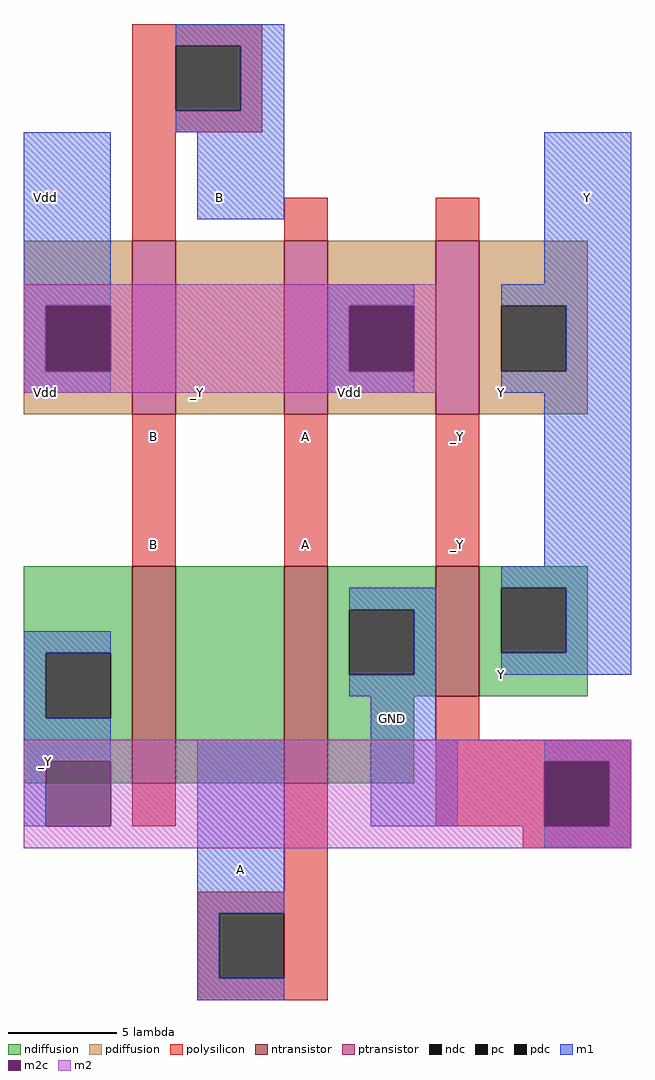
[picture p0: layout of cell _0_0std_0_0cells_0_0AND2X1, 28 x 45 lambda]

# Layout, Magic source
magic
tech sky130l
<< ndiffusion >>
rect 8 12 13 16
rect 8 9 9 12
rect 12 9 13 12
rect 8 6 13 9
rect 15 6 20 16
rect 22 14 27 16
rect 22 11 23 14
rect 26 11 27 14
rect 22 10 27 11
rect 29 15 34 16
rect 29 12 30 15
rect 33 12 34 15
rect 29 10 34 12
rect 22 6 26 10
<< ndc >>
rect 9 9 12 12
rect 23 11 26 14
rect 30 12 33 15
<< ntransistor >>
rect 13 6 15 16
rect 20 6 22 16
rect 27 10 29 16
<< pdiffusion >>
rect 8 28 13 31
rect 8 25 9 28
rect 12 25 13 28
rect 8 23 13 25
rect 15 23 20 31
rect 22 28 27 31
rect 22 25 23 28
rect 26 25 27 28
rect 22 23 27 25
rect 29 28 34 31
rect 29 25 30 28
rect 33 25 34 28
rect 29 23 34 25
<< pdc >>
rect 9 25 12 28
rect 23 25 26 28
rect 30 25 33 28
<< ptransistor >>
rect 13 23 15 31
rect 20 23 22 31
rect 27 23 29 31
<< polysilicon >>
rect 13 40 19 41
rect 13 37 15 40
rect 18 37 19 40
rect 13 36 19 37
rect 13 31 15 36
rect 20 31 22 33
rect 27 31 29 33
rect 13 16 15 23
rect 20 16 22 23
rect 27 16 29 23
rect 27 8 29 10
rect 27 7 36 8
rect 13 4 15 6
rect 20 1 22 6
rect 27 4 32 7
rect 35 4 36 7
rect 31 3 36 4
rect 16 0 22 1
rect 16 -3 17 0
rect 20 -3 22 0
rect 16 -4 22 -3
<< pc >>
rect 15 37 18 40
rect 32 4 35 7
rect 17 -3 20 0
<< m1 >>
rect 15 40 20 41
rect 18 37 20 40
rect 15 36 20 37
rect 8 28 12 36
rect 16 32 20 36
rect 32 29 36 36
rect 8 25 9 28
rect 8 24 12 25
rect 22 28 26 29
rect 22 25 23 28
rect 22 24 26 25
rect 30 28 36 29
rect 33 25 36 28
rect 30 24 36 25
rect 32 16 36 24
rect 30 15 36 16
rect 23 14 27 15
rect 8 12 12 13
rect 8 9 9 12
rect 26 11 27 14
rect 33 12 36 15
rect 30 11 36 12
rect 23 10 27 11
rect 8 7 12 9
rect 24 8 27 10
rect 8 4 9 7
rect 16 0 20 8
rect 24 4 28 8
rect 32 7 36 8
rect 35 4 36 7
rect 32 3 36 4
rect 16 -3 17 0
rect 16 -4 20 -3
<< m2c >>
rect 9 25 12 28
rect 23 25 26 28
rect 9 4 12 7
rect 32 4 35 7
<< m2 >>
rect 8 28 27 29
rect 8 25 9 28
rect 12 25 23 28
rect 26 25 27 28
rect 8 24 27 25
rect 8 7 36 8
rect 8 4 9 7
rect 12 4 32 7
rect 35 4 36 7
rect 8 3 36 4
<< labels >>
rlabel ndiffusion 30 11 30 11 3 Y
rlabel polysilicon 28 22 28 22 3 _Y
rlabel pdiffusion 30 24 30 24 3 Y
rlabel pdiffusion 23 24 23 24 3 Vdd
rlabel polysilicon 21 17 21 17 3 A
rlabel polysilicon 21 22 21 22 3 A
rlabel pdiffusion 16 24 16 24 3 _Y
rlabel polysilicon 14 17 14 17 3 B
rlabel polysilicon 14 22 14 22 3 B
rlabel ndiffusion 9 7 9 7 3 _Y
rlabel m1 17 33 17 33 3 B
port 3 e
rlabel m1 9 33 9 33 4 Vdd
rlabel m1 34 33 34 33 6 Y
rlabel m1 18 2 18 2 1 A
rlabel m1 25 9 25 9 1 GND
rlabel pdiffusion 9 24 9 24 3 Vdd
rlabel polysilicon 28 17 28 17 3 _Y
<< end >>
